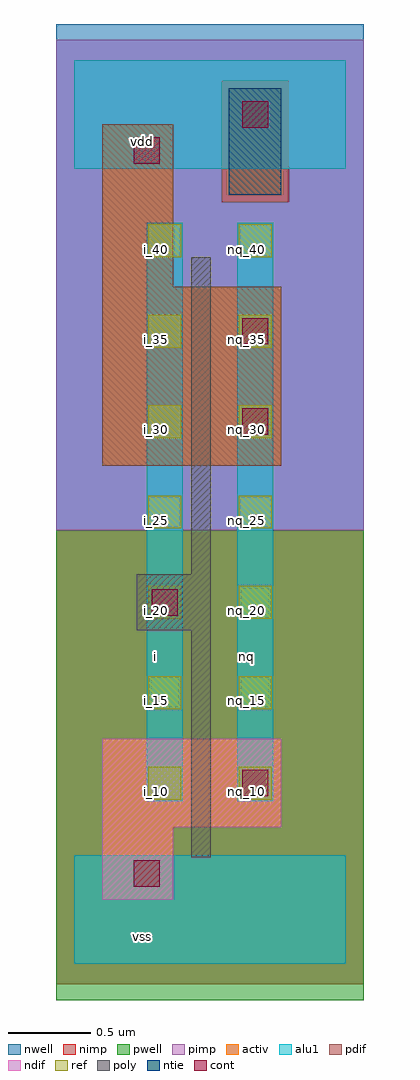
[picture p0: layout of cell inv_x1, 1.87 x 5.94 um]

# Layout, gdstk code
import gdstk
lib = gdstk.Library(unit=1e-6, precision=2.5e-09)
def R(c, l, rs):  # rectangles x0, y0, x1, y1
    for r in rs: c.add(gdstk.rectangle(r[:2], r[2:], *l))
def A(c, l, x, y, w, h, nx, ny, dx, dy):  # array of equal rectangles
    R(c, l, [(x+i*dx, y+j*dy, x+i*dx+w, y+j*dy+h) for i in range(nx) for j in range(ny)])
ndif = (3, 0)
pdif = (4, 0)
ntie = (5, 0)
ref = (24, 0)
cont = (25, 0)
pwell = (41, 0)
nwell = (42, 0)
activ = (43, 0)
pimp = (44, 0)
nimp = (45, 0)
poly = (46, 0)
alu1 = (49, 0)

inv_x1 = lib.new_cell('inv_x1')
R(inv_x1, ndif, [(0.17,0.39,0.6,0.83), (0.17,0.39,0.6,0.83), (0.17,0.83,1.26,1.37), (0.17,0.83,1.26,1.37)])
R(inv_x1, pdif, [(0.17,3.03,1.26,4.12), (0.17,3.03,1.26,4.12), (0.17,4.12,0.6,5.11), (0.17,4.12,0.6,5.11)])
R(inv_x1, ntie, [(0.94,4.68,1.26,5.33), (0.94,4.68,1.26,5.33)])
A(inv_x1, ref, 0.45, 1, 0.2, 0.2, 1, 7, 0, 0.55)
A(inv_x1, ref, 1, 1, 0.2, 0.2, 1, 7, 0, 0.55)
R(inv_x1, cont, [(0.36,0.47,0.52,0.63), (1.02,1.02,1.18,1.18), (0.47,2.12,0.63,2.28), (1.02,3.22,1.18,3.38), (1.02,3.77,1.18,3.93), (0.36,4.87,0.52,5.03), (1.02,5.09,1.18,5.25)])
R(inv_x1, pwell, [(-0.11,-0.22,1.76,2.64)])
R(inv_x1, nwell, [(-0.11,2.64,1.76,5.72)])
R(inv_x1, activ, [(0.17,0.39,0.6,0.83), (0.17,0.39,0.6,0.83), (0.17,0.83,1.26,1.37), (0.17,0.83,1.26,1.37), (0.17,3.03,1.26,4.12), (0.17,3.03,1.26,4.12), (0.17,4.12,0.6,5.11), (0.17,4.12,0.6,5.11), (0.94,4.68,1.26,5.33), (0.94,4.68,1.26,5.33)])
R(inv_x1, pimp, [(-0.11,2.64,1.76,4.635), (-0.11,4.635,0.895,5.375), (1.305,4.635,1.76,5.375), (-0.11,5.375,1.76,5.625)])
R(inv_x1, nimp, [(-0.11,-0.125,1.76,2.64), (0.895,4.635,1.305,5.375)])
R(inv_x1, poly, [(0.71,0.65,0.83,2.03), (0.38,2.03,0.83,2.37), (0.71,2.37,0.83,4.3)])
R(inv_x1, alu1, [(0,0,1.65,0.66), (0.44,0.99,0.66,4.51), (0.99,0.99,1.21,4.51), (0,4.84,1.65,5.5)])
inv_x1.add(gdstk.Label('vss', (0.4125,0.165), layer=49, texttype=0))
inv_x1.add(gdstk.Label('nq', (1.045,1.87), layer=49, texttype=0))
inv_x1.add(gdstk.Label('i', (0.495,1.87), layer=49, texttype=0))
inv_x1.add(gdstk.Label('vdd', (0.4125,5.005), layer=49, texttype=0))
inv_x1.add(gdstk.Label('nq_40', (1.05,4.35), layer=24, texttype=0))
inv_x1.add(gdstk.Label('nq_35', (1.05,3.8), layer=24, texttype=0))
inv_x1.add(gdstk.Label('nq_30', (1.05,3.25), layer=24, texttype=0))
inv_x1.add(gdstk.Label('nq_25', (1.05,2.7), layer=24, texttype=0))
inv_x1.add(gdstk.Label('nq_20', (1.05,2.15), layer=24, texttype=0))
inv_x1.add(gdstk.Label('nq_15', (1.05,1.6), layer=24, texttype=0))
inv_x1.add(gdstk.Label('nq_10', (1.05,1.05), layer=24, texttype=0))
inv_x1.add(gdstk.Label('i_10', (0.5,1.05), layer=24, texttype=0))
inv_x1.add(gdstk.Label('i_15', (0.5,1.6), layer=24, texttype=0))
inv_x1.add(gdstk.Label('i_20', (0.5,2.15), layer=24, texttype=0))
inv_x1.add(gdstk.Label('i_25', (0.5,2.7), layer=24, texttype=0))
inv_x1.add(gdstk.Label('i_30', (0.5,3.25), layer=24, texttype=0))
inv_x1.add(gdstk.Label('i_35', (0.5,3.8), layer=24, texttype=0))
inv_x1.add(gdstk.Label('i_40', (0.5,4.35), layer=24, texttype=0))

lib.write_gds('inv_x1.gds')
